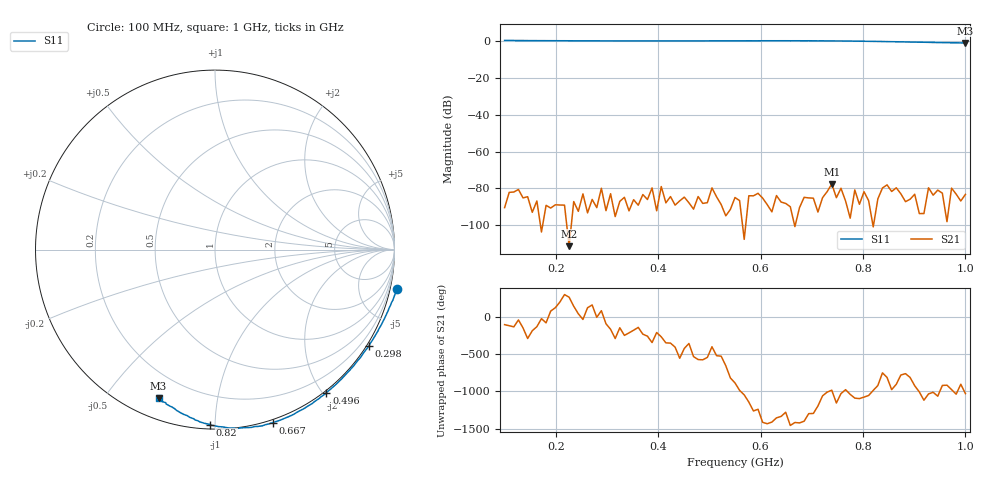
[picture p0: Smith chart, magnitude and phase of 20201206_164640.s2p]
# HZ S RI R 50
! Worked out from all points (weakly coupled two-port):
!   101 points, 100 MHz to 1 GHz, reference 50 ohm
!   highest |S21| = -77.60 dB at 739 MHz (marker M1); lowest = -111.3 dB at 226 MHz (marker M2)
!   lowest |S11| = -1.1 dB at 1 GHz (marker M3), VSWR 16.46, Z = 4.47 - j34.3 ohm
!   |S11| at or under -10 dB: nowhere
!   S12 and S22 are empty: the file has one direction only
!   S11 on the Smith chart (normalised r, x): 100 MHz: -1.52, -9.10; 298 MHz: -0.07, -3.48; 496 MHz: -0.03, -2.05; 667 MHz: -0.02, -1.39; 820 MHz: 0.02, -0.97; 1 GHz: 0.09, -0.69
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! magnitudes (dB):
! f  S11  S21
! 100 MHz  0.3  -90.4
! 226 MHz  0.1  -111.3
! 253 MHz  0.1  -83.0
! 298 MHz  0.1  -92.1
! 397 MHz  0.1  -92.1
! 406 MHz  0.1  -79.0
! 415 MHz  0.1  -87.8
! 496 MHz  0.1  -87.7
! 550 MHz  0.1  -84.9
! 667 MHz  0.1  -100.7
! 703 MHz  0.1  -85.3
! 730 MHz  0.1  -81.7
! 739 MHz  0.0  -77.6
! 748 MHz  0.0  -85.0
! 820 MHz  -0.2  -100.9
! 838 MHz  -0.3  -79.8
! 847 MHz  -0.3  -78.1
! 856 MHz  -0.4  -81.7
! 865 MHz  -0.4  -79.7
! 919 MHz  -0.7  -93.6
! 928 MHz  -0.7  -79.7
! 1 GHz  -1.1  -83.3
